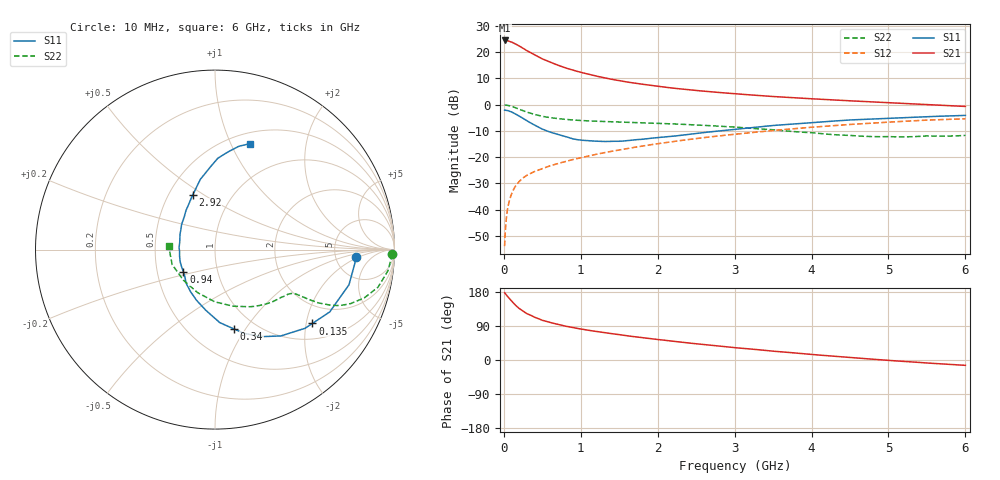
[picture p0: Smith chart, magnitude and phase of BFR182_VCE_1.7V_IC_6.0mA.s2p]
! Infineon Technologies  Discrete & RF Semiconductors
! BFR182
! VCE =  1.7 V,  IC =  6.0 mA
! Common Emitter S-Parameters:  Nov 2015
# GHz  S  MA  R  50
!  f  S11  S21  S12  S22
! GHz  MAG  ANG  MAG  ANG  MAG  ANG  MAG  ANG
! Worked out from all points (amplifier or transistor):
!   210 points, 10 MHz to 6 GHz, reference 50 ohm
!   highest |S21| = 24.5 dB at 10 MHz (marker M1)
!   |S21| within 3 dB of that: start of sweep to 250 MHz
!   unconditionally stable (mu >= 1): 950.2 MHz to 2.779 GHz
!   at 185 MHz: K = 0.38, MSG = 26.2 dB, |S12| = -29.8 dB
!   at 1.52 GHz: K = 1.06, MAG = 11.6 dB, |S12| = -17.2 dB
!   at 6 GHz: K = 0.89, MSG = 2.3 dB, |S12| = -5.4 dB
!   S11 on the Smith chart (normalised r, x): 10 MHz: 7.95, -1.77; 135 MHz: 1.42, -2.17; 340 MHz: 0.80, -0.89; 940 MHz: 0.68, -0.18; 2.92 GHz: 0.66, +0.45; 6 GHz: 0.61, +1.19
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0.01  0.7862 -3.1  16.7 177.5  0.002 94.8  0.9881 -1.4
0.05  0.7718 -14.7  16.52 167.4  0.0107 81.8  0.9714 -6.9
0.1  0.7275 -28.5  15.65 155.7  0.0198 76.7  0.932 -13.0
0.135  0.6809 -37.2  14.7 148.1  0.0254 71.6  0.8909 -16.4
0.15  0.6661 -41.2  14.38 144.5  0.0278 70.0  0.8743 -17.9
0.2  0.6047 -52.7  13.16 135.9  0.0343 67.5  0.8153 -21.6
0.26  0.5355 -64.0  11.58 127.3  0.0411 63.7  0.7542 -24.4
0.3  0.4918 -71.2  10.67 122.3  0.0449 62.9  0.7191 -25.6
0.34  0.4544 -76.6  9.924 118.9  0.0482 62.1  0.6904 -26.2
0.4  0.4075 -86.3  8.89 112.8  0.0531 61.0  0.6475 -27.3
0.5  0.3415 -98.7  7.447 104.8  0.06 60.8  0.5968 -27.9
0.6  0.2999 -110.2  6.432 99.0  0.068 61.2  0.5638 -28.2
0.7  0.2713 -120.1  5.654 93.8  0.075 61.6  0.5407 -28.5
0.94  0.2162 -144.4  4.359 83.9  0.0928 62.6  0.5043 -29.1
1.02  0.2089 -153.4  4.054 81.1  0.0987 63.0  0.4958 -29.5
1.4  0.2006 176.6  3.037 69.6  0.1283 63.2  0.4708 -32.7
2.02  0.2359 141.0  2.212 53.7  0.1814 61.2  0.4388 -40.4
2.92  0.3276 112.4  1.647 34.4  0.2645 54.9  0.3789 -56.8
3.1  0.3484 108.7  1.571 30.9  0.2816 53.1  0.3632 -61.0
4.1  0.4647 92.8  1.268 13.0  0.3792 42.6  0.2815 -94.1
5.1  0.5568 81.3  1.073 -2.4  0.4719 30.2  0.243 -141.0
6  0.6225 71.7  0.922 -14.1  0.5373 17.5  0.2586 176.0
